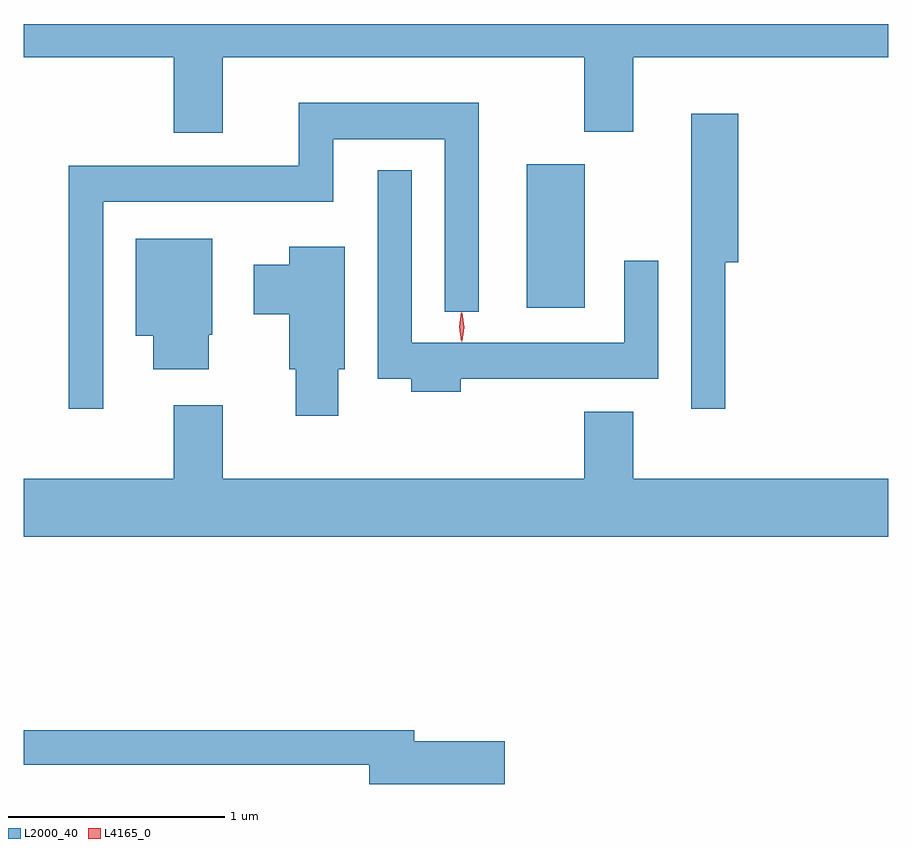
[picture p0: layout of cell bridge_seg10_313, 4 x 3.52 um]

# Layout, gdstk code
import gdstk
lib = gdstk.Library(unit=1e-6, precision=1e-09)
def R(c, l, rs):  # rectangles x0, y0, x1, y1
    for r in rs: c.add(gdstk.rectangle(r[:2], r[2:], *l))
def P(c, l, *ps):  # polygons
    for p in ps: c.add(gdstk.Polygon(p, *l))
L2000_40 = (2000, 40)
L4165_0 = (4165, 0)

bridge_seg10_313 = lib.new_cell('bridge_seg10_313')
R(bridge_seg10_313, L2000_40, [(1399.996,2152.716,1400.264,2153.379)])
P(bridge_seg10_313, L2000_40, [(1398.589,2153.876),(1400.261,2153.876),(1400.261,2153.531),(1400.489,2153.531),(1400.489,2153.876),(1401.668,2153.876),(1401.668,2154.029),(1397.668,2154.029),(1397.668,2153.876),(1398.361,2153.876),(1398.361,2153.526),(1398.589,2153.526)],
  [(1398.034,2153.206),(1399.099,2153.206),(1399.099,2153.496),(1399.616,2153.496),(1399.616,2152.698),(1399.774,2152.698),(1399.774,2153.664),(1398.941,2153.664),(1398.941,2153.374),(1397.876,2153.374),(1397.876,2152.248),(1398.034,2152.248)],
  [(1400.914,2152.926),(1400.974,2152.926),(1400.974,2153.614),(1400.756,2153.614),(1400.756,2152.248),(1400.914,2152.248)],
  [(1399.689,2152.386),(1400.604,2152.386),(1400.604,2152.933),(1400.446,2152.933),(1400.446,2152.554),(1399.464,2152.554),(1399.464,2153.353),(1399.306,2153.353),(1399.306,2152.386),(1399.461,2152.386),(1399.461,2152.326),(1399.689,2152.326)],
  [(1398.524,2152.59),(1398.539,2152.59),(1398.539,2153.034),(1398.186,2153.034),(1398.186,2152.586),(1398.266,2152.586),(1398.266,2152.431),(1398.524,2152.431)],
  [(1399.124,2152.431),(1399.154,2152.431),(1399.154,2152.999),(1398.896,2152.999),(1398.896,2152.914),(1398.731,2152.914),(1398.731,2152.686),(1398.896,2152.686),(1398.896,2152.431),(1398.926,2152.431),(1398.926,2152.216),(1399.124,2152.216)],
  [(1401.668,2151.924),(1400.489,2151.924),(1400.489,2152.234),(1400.261,2152.234),(1400.261,2151.924),(1398.589,2151.924),(1398.589,2152.264),(1398.361,2152.264),(1398.361,2151.924),(1397.668,2151.924),(1397.668,2151.656),(1401.668,2151.656)],
  [(1399.894,2150.709),(1399.474,2150.709),(1399.474,2150.759),(1397.668,2150.759),(1397.668,2150.601),(1399.266,2150.601),(1399.266,2150.511),(1399.894,2150.511)])
P(bridge_seg10_313, L4165_0, [(1399.697,2152.559),(1399.697,2152.56),(1399.687,2152.626),(1399.697,2152.692),(1399.697,2152.693),(1399.698,2152.692),(1399.707,2152.626),(1399.698,2152.56)],
  [(1399.692,2152.557),(1399.692,2152.557),(1399.682,2152.627),(1399.692,2152.696),(1399.692,2152.696),(1399.693,2152.696),(1399.702,2152.627),(1399.693,2152.557)])

lib.write_gds('bridge_seg10_313.gds')
